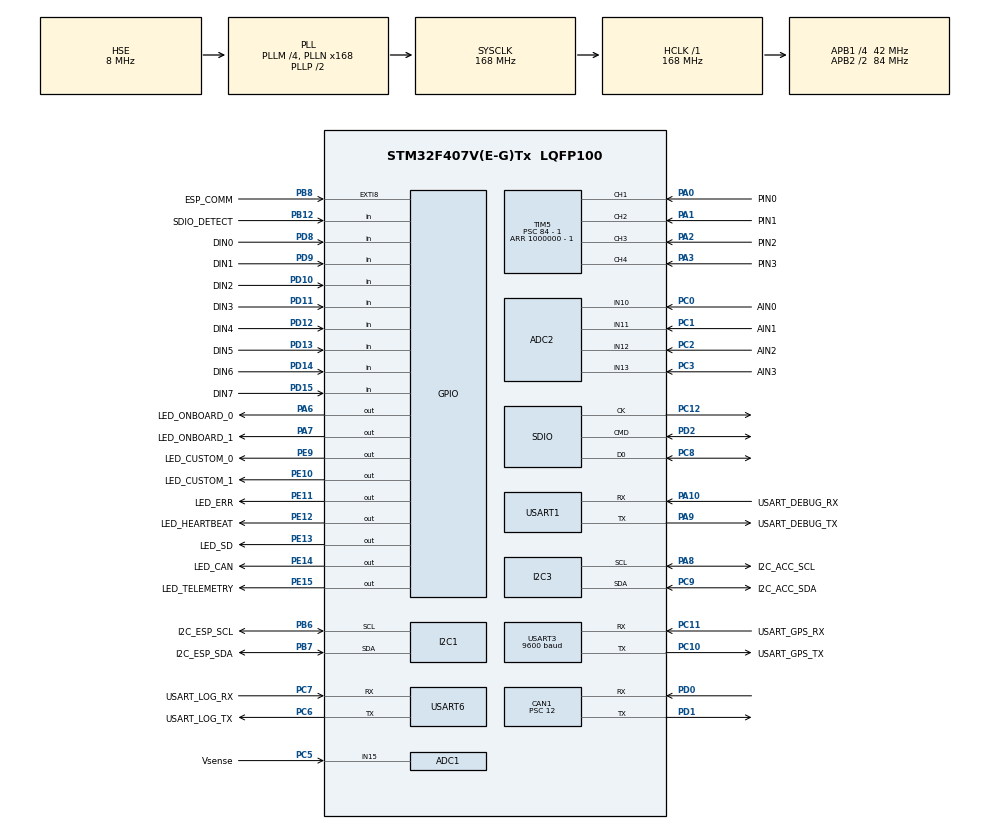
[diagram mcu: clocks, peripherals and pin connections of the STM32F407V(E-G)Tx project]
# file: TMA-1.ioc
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ADC1.Channel-0\#ChannelRegularConversion=ADC_CHANNEL_TEMPSENSOR
ADC1.Channel-1\#ChannelRegularConversion=ADC_CHANNEL_15
ADC1.ClockPrescaler=ADC_CLOCK_SYNC_PCLK_DIV4
ADC1.DMAContinuousRequests=ENABLE
ADC1.DiscontinuousConvMode=DISABLE
ADC1.EOCSelection=ADC_EOC_SEQ_CONV
ADC1.NbrOfConversion=2
ADC1.NbrOfConversionFlag=1
ADC1.Rank-0\#ChannelRegularConversion=1
ADC1.Rank-1\#ChannelRegularConversion=2
ADC1.SamplingTime-0\#ChannelRegularConversion=ADC_SAMPLETIME_15CYCLES
ADC1.SamplingTime-1\#ChannelRegularConversion=ADC_SAMPLETIME_15CYCLES
ADC1.ScanConvMode=ENABLE
ADC1.master=1
ADC2.Channel-4\#ChannelRegularConversion=ADC_CHANNEL_10
ADC2.Channel-5\#ChannelRegularConversion=ADC_CHANNEL_11
ADC2.Channel-6\#ChannelRegularConversion=ADC_CHANNEL_12
ADC2.Channel-7\#ChannelRegularConversion=ADC_CHANNEL_13
ADC2.ClockPrescaler=ADC_CLOCK_SYNC_PCLK_DIV4
ADC2.DMAContinuousRequests=ENABLE
ADC2.DiscontinuousConvMode=DISABLE
ADC2.EOCSelection=ADC_EOC_SEQ_CONV
ADC2.NbrOfConversion=4
ADC2.NbrOfConversionFlag=1
ADC2.Rank-4\#ChannelRegularConversion=1
ADC2.Rank-5\#ChannelRegularConversion=2
ADC2.Rank-6\#ChannelRegularConversion=3
ADC2.Rank-7\#ChannelRegularConversion=4
ADC2.SamplingTime-4\#ChannelRegularConversion=ADC_SAMPLETIME_15CYCLES
ADC2.SamplingTime-5\#ChannelRegularConversion=ADC_SAMPLETIME_15CYCLES
ADC2.SamplingTime-6\#ChannelRegularConversion=ADC_SAMPLETIME_15CYCLES
ADC2.SamplingTime-7\#ChannelRegularConversion=ADC_SAMPLETIME_15CYCLES
CAN1.AWUM=ENABLE
CAN1.BS1=CAN_BS1_11TQ
CAN1.BS2=CAN_BS2_2TQ
CAN1.CalculateBaudRate=250000
CAN1.CalculateTimeBit=4000
CAN1.CalculateTimeQuantum=285.7142857142857
CAN1.Prescaler=12
Dma.ADC1.8.Direction=DMA_PERIPH_TO_MEMORY
Dma.ADC1.8.FIFOMode=DMA_FIFOMODE_DISABLE
Dma.ADC1.8.Instance=DMA2_Stream0
Dma.ADC1.8.MemDataAlignment=DMA_MDATAALIGN_WORD
Dma.ADC1.8.MemInc=DMA_MINC_ENABLE
Dma.ADC1.8.Mode=DMA_CIRCULAR
Dma.ADC1.8.PeriphDataAlignment=DMA_PDATAALIGN_WORD
Dma.ADC1.8.PeriphInc=DMA_PINC_DISABLE
Dma.ADC1.8.Priority=DMA_PRIORITY_LOW
Dma.ADC2.7.Direction=DMA_PERIPH_TO_MEMORY
Dma.ADC2.7.FIFOMode=DMA_FIFOMODE_DISABLE
Dma.ADC2.7.Instance=DMA2_Stream2
Dma.ADC2.7.MemDataAlignment=DMA_MDATAALIGN_WORD
Dma.ADC2.7.MemInc=DMA_MINC_ENABLE
Dma.ADC2.7.Mode=DMA_CIRCULAR
Dma.ADC2.7.PeriphDataAlignment=DMA_PDATAALIGN_WORD
Dma.ADC2.7.PeriphInc=DMA_PINC_DISABLE
Dma.ADC2.7.Priority=DMA_PRIORITY_LOW
Dma.Request0=TIM5_CH1
Dma.Request1=TIM5_CH2
Dma.Request2=TIM5_CH3/UP
Dma.Request3=TIM5_CH4/TRIG
Dma.Request4=SDIO_RX
Dma.Request5=SDIO_TX
Dma.Request6=USART3_RX
Dma.Request7=ADC2
Dma.Request8=ADC1
Dma.SDIO_RX.4.Direction=DMA_PERIPH_TO_MEMORY
Dma.SDIO_RX.4.FIFOMode=DMA_FIFOMODE_ENABLE
Dma.SDIO_RX.4.FIFOThreshold=DMA_FIFO_THRESHOLD_FULL
Dma.SDIO_RX.4.Instance=DMA2_Stream6
Dma.SDIO_RX.4.MemBurst=DMA_MBURST_INC4
Dma.SDIO_RX.4.MemDataAlignment=DMA_MDATAALIGN_WORD
Dma.SDIO_RX.4.MemInc=DMA_MINC_ENABLE
Dma.SDIO_RX.4.Mode=DMA_PFCTRL
Dma.SDIO_RX.4.PeriphBurst=DMA_PBURST_INC4
Dma.SDIO_RX.4.PeriphDataAlignment=DMA_PDATAALIGN_WORD
Dma.SDIO_RX.4.PeriphInc=DMA_PINC_DISABLE
Dma.SDIO_RX.4.Priority=DMA_PRIORITY_LOW
Dma.SDIO_TX.5.Direction=DMA_MEMORY_TO_PERIPH
Dma.SDIO_TX.5.FIFOMode=DMA_FIFOMODE_ENABLE
Dma.SDIO_TX.5.FIFOThreshold=DMA_FIFO_THRESHOLD_FULL
Dma.SDIO_TX.5.Instance=DMA2_Stream3
Dma.SDIO_TX.5.MemBurst=DMA_MBURST_INC4
Dma.SDIO_TX.5.MemDataAlignment=DMA_MDATAALIGN_WORD
Dma.SDIO_TX.5.MemInc=DMA_MINC_ENABLE
Dma.SDIO_TX.5.Mode=DMA_PFCTRL
Dma.SDIO_TX.5.PeriphBurst=DMA_PBURST_INC4
Dma.SDIO_TX.5.PeriphDataAlignment=DMA_PDATAALIGN_WORD
Dma.SDIO_TX.5.PeriphInc=DMA_PINC_DISABLE
Dma.SDIO_TX.5.Priority=DMA_PRIORITY_LOW
Dma.TIM5_CH1.0.Direction=DMA_PERIPH_TO_MEMORY
Dma.TIM5_CH1.0.FIFOMode=DMA_FIFOMODE_DISABLE
Dma.TIM5_CH1.0.Instance=DMA1_Stream2
Dma.TIM5_CH1.0.MemDataAlignment=DMA_MDATAALIGN_WORD
Dma.TIM5_CH1.0.MemInc=DMA_MINC_ENABLE
Dma.TIM5_CH1.0.Mode=DMA_NORMAL
Dma.TIM5_CH1.0.PeriphDataAlignment=DMA_PDATAALIGN_WORD
Dma.TIM5_CH1.0.PeriphInc=DMA_PINC_DISABLE
Dma.TIM5_CH1.0.Priority=DMA_PRIORITY_LOW
Dma.TIM5_CH2.1.Direction=DMA_PERIPH_TO_MEMORY
Dma.TIM5_CH2.1.FIFOMode=DMA_FIFOMODE_DISABLE
Dma.TIM5_CH2.1.Instance=DMA1_Stream4
Dma.TIM5_CH2.1.MemDataAlignment=DMA_MDATAALIGN_WORD
Dma.TIM5_CH2.1.MemInc=DMA_MINC_ENABLE
Dma.TIM5_CH2.1.Mode=DMA_NORMAL
Dma.TIM5_CH2.1.PeriphDataAlignment=DMA_PDATAALIGN_WORD
Dma.TIM5_CH2.1.PeriphInc=DMA_PINC_DISABLE
Dma.TIM5_CH2.1.Priority=DMA_PRIORITY_LOW
Dma.TIM5_CH3/UP.2.Direction=DMA_PERIPH_TO_MEMORY
Dma.TIM5_CH3/UP.2.FIFOMode=DMA_FIFOMODE_DISABLE
Dma.TIM5_CH3/UP.2.Instance=DMA1_Stream0
Dma.TIM5_CH3/UP.2.MemDataAlignment=DMA_MDATAALIGN_WORD
Dma.TIM5_CH3/UP.2.MemInc=DMA_MINC_ENABLE
Dma.TIM5_CH3/UP.2.Mode=DMA_NORMAL
Dma.TIM5_CH3/UP.2.PeriphDataAlignment=DMA_PDATAALIGN_WORD
Dma.TIM5_CH3/UP.2.PeriphInc=DMA_PINC_DISABLE
Dma.TIM5_CH3/UP.2.Priority=DMA_PRIORITY_LOW
Dma.TIM5_CH4/TRIG.3.Direction=DMA_PERIPH_TO_MEMORY
Dma.TIM5_CH4/TRIG.3.FIFOMode=DMA_FIFOMODE_DISABLE
Dma.TIM5_CH4/TRIG.3.Instance=DMA1_Stream3
Dma.TIM5_CH4/TRIG.3.MemDataAlignment=DMA_MDATAALIGN_WORD
Dma.TIM5_CH4/TRIG.3.MemInc=DMA_MINC_ENABLE
Dma.TIM5_CH4/TRIG.3.Mode=DMA_NORMAL
Dma.TIM5_CH4/TRIG.3.PeriphDataAlignment=DMA_PDATAALIGN_WORD
Dma.TIM5_CH4/TRIG.3.PeriphInc=DMA_PINC_DISABLE
Dma.TIM5_CH4/TRIG.3.Priority=DMA_PRIORITY_LOW
Dma.USART3_RX.6.Direction=DMA_PERIPH_TO_MEMORY
Dma.USART3_RX.6.FIFOMode=DMA_FIFOMODE_DISABLE
Dma.USART3_RX.6.Instance=DMA1_Stream1
Dma.USART3_RX.6.MemDataAlignment=DMA_MDATAALIGN_BYTE
Dma.USART3_RX.6.MemInc=DMA_MINC_ENABLE
Dma.USART3_RX.6.Mode=DMA_NORMAL
Dma.USART3_RX.6.PeriphDataAlignment=DMA_PDATAALIGN_BYTE
Dma.USART3_RX.6.PeriphInc=DMA_PINC_DISABLE
Dma.USART3_RX.6.Priority=DMA_PRIORITY_LOW
FATFS.BSP.number=1
FATFS.USE_DMA_CODE_SD=1
FATFS._MAX_SS=4096
FATFS._USE_LFN=1
FATFS0.BSP.STBoard=false
FATFS0.BSP.api=Unknown
FATFS0.BSP.instance=PB12
FATFS0.BSP.ip=GPIO
FATFS0.BSP.mode=Input
FATFS0.BSP.name=Detect_SDIO
FATFS0.BSP.solution=PB12
I2C1.I2C_Mode=I2C_Fast
I2C3.I2C_Mode=I2C_Fast
Mcu.Family=STM32F4
Mcu.Name=STM32F407V(E-G)Tx
Mcu.Package=LQFP100
NVIC.ADC_IRQn=true\:0\:0\:false\:false\:true\:true\:true\:true
NVIC.CAN1_RX0_IRQn=true\:0\:0\:false\:false\:true\:true\:true\:true
NVIC.CAN1_RX1_IRQn=true\:0\:0\:false\:false\:true\:true\:true\:true
NVIC.CAN1_SCE_IRQn=true\:0\:0\:false\:false\:true\:true\:true\:true
NVIC.CAN1_TX_IRQn=true\:0\:0\:false\:false\:true\:true\:true\:true
NVIC.DMA1_Stream0_IRQn=true\:0\:0\:false\:false\:true\:false\:true\:true
NVIC.DMA1_Stream1_IRQn=true\:0\:0\:false\:false\:true\:false\:true\:true
NVIC.DMA1_Stream2_IRQn=true\:0\:0\:false\:false\:true\:false\:true\:true
NVIC.DMA1_Stream3_IRQn=true\:0\:0\:false\:false\:true\:false\:true\:true
NVIC.DMA1_Stream4_IRQn=true\:0\:0\:false\:false\:true\:false\:true\:true
NVIC.DMA2_Stream0_IRQn=true\:0\:0\:false\:false\:true\:false\:true\:true
NVIC.DMA2_Stream2_IRQn=true\:0\:0\:false\:false\:true\:false\:true\:true
NVIC.DMA2_Stream3_IRQn=true\:0\:0\:false\:false\:true\:false\:true\:true
NVIC.DMA2_Stream6_IRQn=true\:0\:0\:false\:false\:true\:false\:true\:true
NVIC.EXTI9_5_IRQn=true\:0\:0\:false\:false\:true\:true\:true\:true
NVIC.I2C1_EV_IRQn=true\:0\:0\:false\:false\:true\:true\:true\:true
NVIC.I2C3_EV_IRQn=true\:0\:0\:false\:false\:true\:true\:true\:true
NVIC.PriorityGroup=NVIC_PRIORITYGROUP_4
NVIC.SDIO_IRQn=true\:0\:0\:false\:false\:true\:true\:true\:true
NVIC.TIM1_UP_TIM10_IRQn=true\:0\:0\:false\:false\:true\:true\:true\:true
NVIC.TIM5_IRQn=true\:0\:0\:false\:false\:true\:true\:true\:true
NVIC.USART1_IRQn=true\:0\:0\:false\:false\:true\:true\:true\:true
NVIC.USART3_IRQn=true\:0\:0\:false\:false\:true\:true\:true\:true
NVIC.USART6_IRQn=true\:0\:0\:false\:false\:true\:true\:true\:true
PA0-WKUP.GPIO_Label=PIN0
PA0-WKUP.Signal=S_TIM5_CH1
PA1.GPIO_Label=PIN1
PA1.Signal=S_TIM5_CH2
PA10.GPIO_Label=USART_DEBUG_RX
PA10.Mode=Asynchronous
PA10.Signal=USART1_RX
PA2.GPIO_Label=PIN2
PA2.Signal=S_TIM5_CH3
PA3.GPIO_Label=PIN3
PA3.Signal=S_TIM5_CH4
PA6.GPIO_Label=LED_ONBOARD_0
PA6.GPIO_PuPd=GPIO_PULLDOWN
PA6.Signal=GPIO_Output
PA7.GPIO_Label=LED_ONBOARD_1
PA7.GPIO_PuPd=GPIO_PULLDOWN
PA7.Signal=GPIO_Output
PA8.GPIO_Label=I2C_ACC_SCL
PA8.Mode=I2C
PA8.Signal=I2C3_SCL
PA9.GPIO_Label=USART_DEBUG_TX
PA9.Mode=Asynchronous
PA9.Signal=USART1_TX
PB12.GPIO_Label=SDIO_DETECT
PB12.GPIO_PuPd=GPIO_PULLDOWN
PB12.Signal=GPIO_Input
PB6.GPIO_Label=I2C_ESP_SCL
PB6.Mode=I2C
PB6.Signal=I2C1_SCL
PB7.GPIO_Label=I2C_ESP_SDA
PB7.Mode=I2C
PB7.Signal=I2C1_SDA
PB8.GPIO_Label=ESP_COMM
PB8.GPIO_ModeDefaultEXTI=GPIO_MODE_IT_RISING_FALLING
PB8.Signal=GPXTI8
PC0.GPIO_Label=AIN0
PC0.Signal=ADCx_IN10
PC1.GPIO_Label=AIN1
PC1.Signal=ADCx_IN11
PC10.GPIO_Label=USART_GPS_TX
PC10.Mode=Asynchronous
PC10.Signal=USART3_TX
PC11.GPIO_Label=USART_GPS_RX
PC11.Mode=Asynchronous
PC11.Signal=USART3_RX
PC12.Mode=SD_1_bit
PC12.Signal=SDIO_CK
PC14-OSC32_IN.Mode=LSE-External-Oscillator
PC14-OSC32_IN.Signal=RCC_OSC32_IN
PC15-OSC32_OUT.Mode=LSE-External-Oscillator
PC15-OSC32_OUT.Signal=RCC_OSC32_OUT
PC2.GPIO_Label=AIN2
PC2.Signal=ADCx_IN12
PC3.GPIO_Label=AIN3
PC3.Signal=ADCx_IN13
PC5.GPIO_Label=Vsense
PC5.Signal=ADCx_IN15
PC6.GPIO_Label=USART_LOG_TX
PC6.Mode=Asynchronous
PC6.Signal=USART6_TX
PC7.GPIO_Label=USART_LOG_RX
PC7.Mode=Asynchronous
PC7.Signal=USART6_RX
PC8.GPIO_PuPd=GPIO_PULLUP
PC8.Mode=SD_1_bit
PC8.Signal=SDIO_D0
PC9.GPIO_Label=I2C_ACC_SDA
PC9.Mode=I2C
PC9.Signal=I2C3_SDA
PD0.Mode=CAN_Activate
PD0.Signal=CAN1_RX
PD1.Mode=CAN_Activate
PD1.Signal=CAN1_TX
PD10.GPIO_Label=DIN2
PD10.GPIO_PuPd=GPIO_PULLDOWN
PD10.Signal=GPIO_Input
PD11.GPIO_Label=DIN3
PD11.GPIO_PuPd=GPIO_PULLDOWN
PD11.Signal=GPIO_Input
PD12.GPIO_Label=DIN4
PD12.GPIO_PuPd=GPIO_PULLDOWN
PD12.Signal=GPIO_Input
PD13.GPIO_Label=DIN5
PD13.GPIO_PuPd=GPIO_PULLDOWN
PD13.Signal=GPIO_Input
PD14.GPIO_Label=DIN6
PD14.GPIO_PuPd=GPIO_PULLDOWN
PD14.Signal=GPIO_Input
PD15.GPIO_Label=DIN7
PD15.GPIO_PuPd=GPIO_PULLDOWN
PD15.Signal=GPIO_Input
PD2.GPIO_PuPd=GPIO_PULLUP
PD2.Mode=SD_1_bit
PD2.Signal=SDIO_CMD
PD8.GPIO_Label=DIN0
PD8.GPIO_PuPd=GPIO_PULLDOWN
PD8.Signal=GPIO_Input
PD9.GPIO_Label=DIN1
PD9.GPIO_PuPd=GPIO_PULLDOWN
PD9.Signal=GPIO_Input
PE10.GPIO_Label=LED_CUSTOM_1
PE10.Signal=GPIO_Output
PE11.GPIO_Label=LED_ERR
PE11.Signal=GPIO_Output
PE12.GPIO_Label=LED_HEARTBEAT
PE12.Signal=GPIO_Output
PE13.GPIO_Label=LED_SD
PE13.Signal=GPIO_Output
PE14.GPIO_Label=LED_CAN
PE14.Signal=GPIO_Output
PE15.GPIO_Label=LED_TELEMETRY
PE15.Signal=GPIO_Output
PE9.GPIO_Label=LED_CUSTOM_0
PE9.Signal=GPIO_Output
PH0-OSC_IN.Mode=HSE-External-Oscillator
PH0-OSC_IN.Signal=RCC_OSC_IN
PH1-OSC_OUT.Mode=HSE-External-Oscillator
PH1-OSC_OUT.Signal=RCC_OSC_OUT
ProjectManager.HeapSize=0x200
ProjectManager.StackSize=0x400
ProjectManager.TargetToolchain=STM32CubeIDE
RCC.48MHZClocksFreq_Value=48000000
RCC.AHBFreq_Value=168000000
RCC.APB1CLKDivider=RCC_HCLK_DIV4
RCC.APB1Freq_Value=42000000
RCC.APB1TimFreq_Value=84000000
RCC.APB2CLKDivider=RCC_HCLK_DIV2
RCC.APB2Freq_Value=84000000
RCC.APB2TimFreq_Value=168000000
RCC.CortexFreq_Value=168000000
RCC.EnbaleCSS=true
RCC.HCLKFreq_Value=168000000
RCC.HSE_VALUE=8000000
RCC.HSI_VALUE=16000000
RCC.PLLM=4
RCC.PLLN=168
RCC.PLLQ=7
RCC.PLLSourceVirtual=RCC_PLLSOURCE_HSE
RCC.RCC_RTC_Clock_Source=RCC_RTCCLKSOURCE_LSE
RCC.RCC_RTC_Clock_SourceVirtual=RCC_RTCCLKSOURCE_LSE
RCC.SYSCLKFreq_VALUE=168000000
RCC.SYSCLKSource=RCC_SYSCLKSOURCE_PLLCLK
RCC.VCOOutputFreq_Value=336000000
RTC.Date=12
RTC.Month=RTC_MONTH_MAY
RTC.WeekDay=RTC_WEEKDAY_FRIDAY
RTC.Year=23
SDIO.ClockDiv=12
SDIO.HardwareFlowControl=SDIO_HARDWARE_FLOW_CONTROL_ENABLE
SH.ADCx_IN10.0=ADC2_IN10,IN10
SH.ADCx_IN11.0=ADC2_IN11,IN11
SH.ADCx_IN12.0=ADC2_IN12,IN12
SH.ADCx_IN13.0=ADC2_IN13,IN13
SH.ADCx_IN15.0=ADC1_IN15,IN15
SH.S_TIM5_CH1.0=TIM5_CH1,Input_Capture1_from_TI1
SH.S_TIM5_CH2.0=TIM5_CH2,Input_Capture2_from_TI2
SH.S_TIM5_CH3.0=TIM5_CH3,Input_Capture3_from_TI3
SH.S_TIM5_CH4.0=TIM5_CH4,Input_Capture4_from_TI4
TIM1.Period=20000 - 1
TIM1.Prescaler=840 - 1
TIM5.Channel-Input_Capture1_from_TI1=TIM_CHANNEL_1
TIM5.Channel-Input_Capture2_from_TI2=TIM_CHANNEL_2
TIM5.Channel-Input_Capture3_from_TI3=TIM_CHANNEL_3
TIM5.Channel-Input_Capture4_from_TI4=TIM_CHANNEL_4
TIM5.Period=1000000 - 1
TIM5.Prescaler=84 - 1
USART1.VirtualMode=VM_ASYNC
USART3.BaudRate=9600
USART3.VirtualMode=VM_ASYNC
USART6.VirtualMode=VM_ASYNC
VP_ADC1_TempSens_Input.Mode=IN-TempSens
VP_FATFS_VS_SDIO.Mode=SDIO
VP_RTC_VS_RTC_Activate.Mode=RTC_Enabled
VP_RTC_VS_RTC_Calendar.Mode=RTC_Calendar
VP_TIM1_VS_ClockSourceINT.Mode=Internal
VP_TIM5_VS_ClockSourceINT.Mode=Internal
board=custom

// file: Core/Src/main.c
/* USER CODE BEGIN Header */
/**
  ******************************************************************************
  * @file           : main.c
  * @brief          : Main program body
  ******************************************************************************
  * @attention
  *
  * Monolith TMA-1 datalogger STM32 firmware.
  *
  * Oh Byung-Jun (mail@luftaquila.io)
  * Ajou University, Korea.
  *
  ******************************************************************************
  */
/* USER CODE END Header */
#include "main.h"
#include "adc.h"
#include "can.h"
#include "dma.h"
#include "fatfs.h"
#include "i2c.h"
#include "rtc.h"
#include "sdio.h"
#include "tim.h"
#include "usart.h"
#include "gpio.h"

/* USER CODE BEGIN Includes */
#include "logger.h"
#include "types.h"
#include "ringbuffer.h"
/* USER CODE END Includes */

/* USER CODE BEGIN PD */
extern int SYS_LOG(LOG_LEVEL level, LOG_SOURCE source, int key);

/* USER CODE END PD */

/* USER CODE BEGIN PM */
extern uint32_t to_uint(uint8_t *str, char garbage);
extern uint32_t drop_point(uint8_t *str);
/* USER CODE END PM */

/* USER CODE BEGIN PV */

// system log
FIL logfile;
LOG syslog;

// system state
SYSTEM_STATE sys_state;

// timer alarm flag
uint32_t timer_flag = 0;

// rtc buffer
uint8_t rtc[25]; // YYYY-MM-DD-HH-MM-SS

// SD card write buffer
ring_buffer_t SD_BUFFER;
uint8_t SD_BUFFER_ARR[1 << 12]; // 4KB

// serial log output buffer
uint32_t serial_flag = 0;
ring_buffer_t SERIAL_BUFFER;
uint8_t SERIAL_BUFFER_ARR[1 << 14]; // 16KB

// telemetry transmission flag and buffer
uint32_t telemetry_flag = 0;
uint32_t handshake_flag = 0;
ring_buffer_t TELEMETRY_BUFFER;
uint8_t TELEMETRY_BUFFER_ARR[1 << 14]; // 16KB

// CAN RX header and buffer
CAN_RxHeaderTypeDef can_rx_header;
uint8_t can_rx_data[8];

// adc conversion buffers
uint32_t adc_flag = 0;
uint32_t adc_sys_value[2] = { 0, };
uint32_t adc_ain_value[ADC_COUNT] = { 0, };

// timer pulse input capture flag and data
uint32_t pulse_flag = 0;
uint32_t pulse_value[PULSE_CH_COUNT] = { 0, }; // microsecond
uint32_t pulse_buffer_0[PULSE_CH_COUNT] = { 0, };
uint32_t pulse_buffer_1[PULSE_CH_COUNT] = { 0, };

// accelerometer receive buffer
uint32_t accelerometer_flag = false;
uint8_t accelerometer_value[6];

// GPS receive flag and buffer
uint32_t gps_flag = false;
uint8_t gps_data[1 << 7]; // 128B
/* USER CODE END PV */

void SystemClock_Config(void);
/* USER CODE BEGIN PFP */
__attribute__((weak)) void _close(void){}
__attribute__((weak)) void _lseek(void){}
__attribute__((weak)) void _read(void){}

void GPS_PARSE(void);
/* USER CODE END PFP */

/* USER CODE BEGIN 0 */
int _write(int file, uint8_t *ptr, int len) {
  HAL_UART_Transmit(UART_DEBUG, (uint8_t *)ptr, (uint16_t)len, 30);
  return (len);
}
/* USER CODE END 0 */

int main(void)
{

  /* MCU Configuration--------------------------------------------------------*/

  /* Reset of all peripherals, Initializes the Flash interface and the Systick. */
  HAL_Init();

  /* Configure the system clock */
  SystemClock_Config();

  /* Initialize all configured peripherals */
  MX_GPIO_Init();
  MX_DMA_Init();
  MX_ADC1_Init();
  MX_ADC2_Init();
  MX_RTC_Init();
  MX_TIM1_Init();
  MX_TIM5_Init();
  MX_CAN1_Init();
  MX_I2C1_Init();
  MX_I2C3_Init();
  MX_SDIO_SD_Init();
  MX_USART1_UART_Init();
  MX_USART3_UART_Init();
  MX_FATFS_Init();
  MX_USART6_UART_Init();
  /* USER CODE BEGIN 2 */

  /********** CORE SYSTEM STARTUP **********/
  int ret;
  DEBUG_MSG("[%8lu] [INF] core system is in startup\r\n", HAL_GetTick());

  /********** RTC boot time check **********/
  DATETIME boot;
  RTC_READ(&boot);
  DEBUG_MSG("[%8lu] [INF] RTC time is 20%02d-%02d-%02d %02d:%02d:%02d\r\n", HAL_GetTick(), boot.year, boot.month, boot.date, boot.hour, boot.minute, boot.second);

  /********** SD card initialization **********/
  ret = SD_SETUP(&boot);

  if (ret == SYS_OK) {
    sys_state.SD = true;
    HAL_GPIO_WritePin(GPIOE, LED_SD_Pin, GPIO_PIN_SET);

    SYS_LOG(LOG_INFO, SYS, SYS_SD_INIT);

    DEBUG_MSG("[%8lu] [ OK] SD card setup\r\n", HAL_GetTick());
  } else {
    sys_state.SD = false;
    HAL_GPIO_WritePin(GPIOE, LED_SD_Pin, GPIO_PIN_RESET);

    syslog.value[0] = (uint8_t)ret;
    SYS_LOG(LOG_ERROR, SYS, SYS_SD_INIT);

    DEBUG_MSG("[%8lu] [ERR] SD card setup failed: %d\r\n", HAL_GetTick(), ret);
  }

  /********** core system initialization **********/
  HAL_GPIO_WritePin(GPIOA, LED_ONBOARD_0_Pin, GPIO_PIN_RESET);
  HAL_GPIO_WritePin(GPIOA, LED_ONBOARD_1_Pin, GPIO_PIN_RESET);
  HAL_GPIO_WritePin(GPIOE, LED_CUSTOM_0_Pin, GPIO_PIN_RESET);
  HAL_GPIO_WritePin(GPIOE, LED_CUSTOM_1_Pin, GPIO_PIN_RESET);

  sys_state.ERR = false;
  sys_state.CAN = false;
  sys_state.TELEMETRY = false;

  HAL_GPIO_WritePin(GPIOE, LED_ERR_Pin, GPIO_PIN_RESET);
  HAL_GPIO_WritePin(GPIOE, LED_HEARTBEAT_Pin, GPIO_PIN_SET);
  HAL_GPIO_WritePin(GPIOE, LED_CAN_Pin, GPIO_PIN_RESET);
  HAL_GPIO_WritePin(GPIOE, LED_TELEMETRY_Pin, GPIO_PIN_RESET);

  // RTC time sync by UART
  HAL_UART_Receive_IT(UART_DEBUG, rtc, 20);

  SYS_LOG(LOG_INFO, SYS, SYS_CORE_INIT);

  DEBUG_MSG("[%8lu] [ OK] core system setup\r\n", HAL_GetTick());

  /********** UART log output port initialization **********/
  ret = SERIAL_SETUP();

  if (ret == SYS_OK) {
    SYS_LOG(LOG_INFO, SYS, SYS_SERIAL_INIT);

    DEBUG_MSG("[%8lu] [ OK] serial log output port setup\r\n", HAL_GetTick());
  } else {
    syslog.value[0] = (uint8_t)ret;
    SYS_LOG(LOG_ERROR, SYS, SYS_SERIAL_INIT);

    DEBUG_MSG("[%8lu] [ERR] serial log output port setup failed: %d\r\n", HAL_GetTick(), ret);
  }

  /********** ESP32 telemetry initialization **********/
  ret = TELEMETRY_SETUP();

  if (ret == SYS_OK) {
    sys_state.TELEMETRY = true;

    // flash 3 times
    HAL_GPIO_WritePin(GPIOE, LED_TELEMETRY_Pin, GPIO_PIN_SET);
    HAL_Delay(100);
    HAL_GPIO_WritePin(GPIOE, LED_TELEMETRY_Pin, GPIO_PIN_RESET);
    HAL_Delay(100);
    HAL_GPIO_WritePin(GPIOE, LED_TELEMETRY_Pin, GPIO_PIN_SET);
    HAL_Delay(100);
    HAL_GPIO_WritePin(GPIOE, LED_TELEMETRY_Pin, GPIO_PIN_RESET);
    HAL_Delay(100);
    HAL_GPIO_WritePin(GPIOE, LED_TELEMETRY_Pin, GPIO_PIN_SET);
    HAL_Delay(100);
    HAL_GPIO_WritePin(GPIOE, LED_TELEMETRY_Pin, GPIO_PIN_RESET);

    SYS_LOG(LOG_INFO, SYS, SYS_TELEMETRY_INIT);

    DEBUG_MSG("[%8lu] [ OK] TELEMETRY setup\r\n", HAL_GetTick());
  } else {
    sys_state.TELEMETRY = false;
    HAL_GPIO_WritePin(GPIOE, LED_TELEMETRY_Pin, GPIO_PIN_RESET);

    syslog.value[0] = (uint8_t)ret;
    SYS_LOG(LOG_ERROR, SYS, SYS_TELEMETRY_INIT);

    DEBUG_MSG("[%8lu] [ERR] TELEMETRY setup failed: %d\r\n", HAL_GetTick(), ret);
  }

  /********** CAN transceiver initialization **********/
  ret = CAN_SETUP();

  if (ret == SYS_OK) {
    sys_state.CAN = true;
    HAL_GPIO_WritePin(GPIOE, LED_CAN_Pin, GPIO_PIN_SET);

    SYS_LOG(LOG_INFO, SYS, CAN_INIT);

    DEBUG_MSG("[%8lu] [ OK] CAN transceiver setup\r\n", HAL_GetTick());
  } else {
    sys_state.CAN = false;
    HAL_GPIO_WritePin(GPIOE, LED_CAN_Pin, GPIO_PIN_RESET);

    syslog.value[0] = (uint8_t)ret;
    SYS_LOG(LOG_ERROR, SYS, CAN_INIT);

    DEBUG_MSG("[%8lu] [ERR] CAN transceiver setup failed: %d\r\n", HAL_GetTick(), ret);
  }

  /********** digital input initialization **********/
  ret = DIGITAL_SETUP();

  if (ret == SYS_OK) {
    SYS_LOG(LOG_INFO, SYS, DIGITAL_INIT);

    DEBUG_MSG("[%8lu] [ OK] digital input setup\r\n", HAL_GetTick());
  } else {
    syslog.value[0] = (uint8_t)ret;
    SYS_LOG(LOG_ERROR, SYS, DIGITAL_INIT);

    DEBUG_MSG("[%8lu] [ERR] digital input setup failed: %d\r\n", HAL_GetTick(), ret);
  }

  /********** analog input initialization **********/
  ret = ANALOG_SETUP();

  if (ret == SYS_OK) {
    SYS_LOG(LOG_INFO, SYS, ANALOG_INIT);

    DEBUG_MSG("[%8lu] [ OK] analog input setup\r\n", HAL_GetTick());
  } else {
    syslog.value[0] = (uint8_t)ret;
    SYS_LOG(LOG_ERROR, SYS, ANALOG_INIT);

    DEBUG_MSG("[%8lu] [ERR] analog input setup failed: %d\r\n", HAL_GetTick(), ret);
  }

  /********** pulse input initialization **********/
  ret = PULSE_SETUP();

  if (ret == SYS_OK) {
    SYS_LOG(LOG_INFO, SYS, PULSE_INIT);

    DEBUG_MSG("[%8lu] [ OK] pulse input setup\r\n", HAL_GetTick());
  } else {
    syslog.value[0] = (uint8_t)ret;
    SYS_LOG(LOG_ERROR, SYS, PULSE_INIT);

    DEBUG_MSG("[%8lu] [ERR] pulse input setup failed: %d\r\n", HAL_GetTick(), ret);
  }

  /********** ADXL345 accelerometer initialization **********/
  ret = ACCELEROMETER_SETUP();

  if (ret == SYS_OK) {
    SYS_LOG(LOG_INFO, SYS, ACCELEROMETER_INIT);

    DEBUG_MSG("[%8lu] [ OK] accelerometer setup\r\n", HAL_GetTick());
  } else {
    syslog.value[0] = (uint8_t)ret;
    SYS_LOG(LOG_ERROR, SYS, ACCELEROMETER_INIT);

    DEBUG_MSG("[%8lu] [ERR] accelerometer setup failed: %d\r\n", HAL_GetTick(), ret);
  }

  /********** NEO-7M GPS initialization **********/
  ret = GPS_SETUP();

  if (ret == SYS_OK) {
    SYS_LOG(LOG_INFO, SYS, GPS_INIT);

    DEBUG_MSG("[%8lu] [ OK] GPS setup\r\n", HAL_GetTick());
  } else {
    syslog.value[0] = (uint8_t)ret;
    SYS_LOG(LOG_ERROR, SYS, GPS_INIT);

    DEBUG_MSG("[%8lu] [ERR] GPS setup failed: %d\r\n", HAL_GetTick(), ret);
  }

  /********** CORE SYSTEM STARTUP COMPLETE **********/
  SYS_LOG(LOG_INFO, SYS, SYS_READY);
  DEBUG_MSG("[%8lu] [ OK] CORE SYSTEM STARTUP COMPLETE\r\n", HAL_GetTick());

  HAL_TIM_Base_Start_IT(&htim1); // start 100ms periodic timer

  /* USER CODE END 2 */

  /* Infinite loop */
  /* USER CODE BEGIN WHILE */
  while (1) {
    /* check flags */
    // system monitor: core temperature and input voltage
    if (adc_flag & (1 << FLAG_ADC_SYS)) {
      adc_flag &= ~(1 << FLAG_ADC_SYS);

      *(uint16_t *)(syslog.value + 0) = (uint16_t)adc_sys_value[0];
      *(uint16_t *)(syslog.value + 2) = (uint16_t)adc_sys_value[1];
      SYS_LOG(LOG_INFO, ANALOG, ANALOG_SYS);
    }

    if (adc_flag & (1 << FLAG_ADC_AIN)) {
      adc_flag &= ~(1 << FLAG_ADC_AIN);

      *(uint16_t *)(syslog.value + 0) = (uint16_t)adc_ain_value[0];
      *(uint16_t *)(syslog.value + 2) = (uint16_t)adc_ain_value[1];
      *(uint16_t *)(syslog.value + 4) = (uint16_t)adc_ain_value[2];
      *(uint16_t *)(syslog.value + 6) = (uint16_t)adc_ain_value[3];
      SYS_LOG(LOG_INFO, ANALOG, ANALOG_DATA);
    }

    if (pulse_flag & (1 << PULSE_SET)) {
      // x10 us
      *(uint16_t *)(syslog.value + 0) = (uint16_t)(pulse_value[PULSE_CH0] / 10);
      *(uint16_t *)(syslog.value + 2) = (uint16_t)(pulse_value[PULSE_CH1] / 10);
      *(uint16_t *)(syslog.value + 4) = (uint16_t)(pulse_value[PULSE_CH2] / 10);
      *(uint16_t *)(syslog.value + 6) = (uint16_t)(pulse_value[PULSE_CH3] / 10);
      SYS_LOG(LOG_INFO, PULSE, PULSE_DATA);

      pulse_flag = 0;
    }

    if (accelerometer_flag == true) {
      accelerometer_flag = false;

      *(uint64_t *)syslog.value = *(uint64_t *)accelerometer_value;
      SYS_LOG(LOG_INFO, ACCELEROMETER, ACCELEROMETER_DATA);
    }

    if (gps_flag == true) {
      gps_flag = false;
      GPS_PARSE();
    }

    /* handle recorded LOGs */
    SD_WRITE();

    SERIAL_TRANSMIT_LOG();

    TELEMETRY_TRANSMIT_LOG();

    /* check timer flags */
    if (timer_flag & (1 << FLAG_TIMER_100ms)) {
      timer_flag &= ~(1 << FLAG_TIMER_100ms);
      TIMER_100ms();
    }

    if (timer_flag & (1 << FLAG_TIMER_1s)) {
      timer_flag &= ~(1 << FLAG_TIMER_1s);
      TIMER_1s();
    }
    /* USER CODE END WHILE */

  }
}

void SystemClock_Config(void)
{
  RCC_OscInitTypeDef RCC_OscInitStruct = {0};
  RCC_ClkInitTypeDef RCC_ClkInitStruct = {0};

  /** Configure the main internal regulator output voltage
  */
  __HAL_RCC_PWR_CLK_ENABLE();
  __HAL_PWR_VOLTAGESCALING_CONFIG(PWR_REGULATOR_VOLTAGE_SCALE1);

  /** Initializes the RCC Oscillators according to the specified parameters
  * in the RCC_OscInitTypeDef structure.
  */
  RCC_OscInitStruct.OscillatorType = RCC_OSCILLATORTYPE_LSI|RCC_OSCILLATORTYPE_HSE
                              |RCC_OSCILLATORTYPE_LSE;
  RCC_OscInitStruct.HSEState = RCC_HSE_ON;
  RCC_OscInitStruct.LSEState = RCC_LSE_ON;
  RCC_OscInitStruct.LSIState = RCC_LSI_ON;
  RCC_OscInitStruct.PLL.PLLState = RCC_PLL_ON;
  RCC_OscInitStruct.PLL.PLLSource = RCC_PLLSOURCE_HSE;
  RCC_OscInitStruct.PLL.PLLM = 4;
  RCC_OscInitStruct.PLL.PLLN = 168;
  RCC_OscInitStruct.PLL.PLLP = RCC_PLLP_DIV2;
  RCC_OscInitStruct.PLL.PLLQ = 7;
  if (HAL_RCC_OscConfig(&RCC_OscInitStruct) != HAL_OK)
  {
    Error_Handler();
  }

  /** Initializes the CPU, AHB and APB buses clocks
  */
  RCC_ClkInitStruct.ClockType = RCC_CLOCKTYPE_HCLK|RCC_CLOCKTYPE_SYSCLK
                              |RCC_CLOCKTYPE_PCLK1|RCC_CLOCKTYPE_PCLK2;
  RCC_ClkInitStruct.SYSCLKSource = RCC_SYSCLKSOURCE_PLLCLK;
  RCC_ClkInitStruct.AHBCLKDivider = RCC_SYSCLK_DIV1;
  RCC_ClkInitStruct.APB1CLKDivider = RCC_HCLK_DIV4;
  RCC_ClkInitStruct.APB2CLKDivider = RCC_HCLK_DIV2;

  if (HAL_RCC_ClockConfig(&RCC_ClkInitStruct, FLASH_LATENCY_5) != HAL_OK)
  {
    Error_Handler();
  }

  /** Enables the Clock Security System
  */
  HAL_RCC_EnableCSS();
}

/* USER CODE BEGIN 4 */
void TIMER_100ms(void) {
  /* record digital input channels */
  syslog.value[0] = !HAL_GPIO_ReadPin(GPIOD, DIN0_Pin);
  syslog.value[1] = !HAL_GPIO_ReadPin(GPIOD, DIN1_Pin);
  syslog.value[2] = !HAL_GPIO_ReadPin(GPIOD, DIN2_Pin);
  syslog.value[3] = !HAL_GPIO_ReadPin(GPIOD, DIN3_Pin);
  syslog.value[4] = !HAL_GPIO_ReadPin(GPIOD, DIN4_Pin);
  syslog.value[5] = !HAL_GPIO_ReadPin(GPIOD, DIN5_Pin);
  syslog.value[6] = !HAL_GPIO_ReadPin(GPIOD, DIN6_Pin);
  syslog.value[7] = !HAL_GPIO_ReadPin(GPIOD, DIN7_Pin);
  SYS_LOG(LOG_INFO, DIGITAL, DIGITAL_DATA);

  /* start analog input channels ADC conversion */
  if (!(adc_flag & (1 << FLAG_ADC_AIN))) {
    HAL_ADC_Start_DMA(&hadc2, adc_ain_value, 4);
  }

  PULSE_CAPTURE();

  /* this takes 30ms EVERY TIME if the module is NOT CONNECTED */
  if (accelerometer_flag == false) {
    HAL_I2C_Mem_Read_IT(I2C_ACCELEROMETER, ACC_I2C_ADDR, 0x32, 1, accelerometer_value, 6);
  }
}

void TIMER_1s(void) {
  /* internal temperature and input voltage monitor */
  if (!(adc_flag & (1 << FLAG_ADC_SYS))) {
    HAL_ADC_Start_DMA(&hadc1, adc_sys_value, 2);
  }

  /* SD card sync*/
  SD_SYNC();

  /* heartbeat LED */
  static bool heartbeat = true;
  if (heartbeat) {
    HAL_GPIO_WritePin(GPIOE, LED_HEARTBEAT_Pin, GPIO_PIN_SET);
  } else {
    HAL_GPIO_WritePin(GPIOE, LED_HEARTBEAT_Pin, GPIO_PIN_RESET);
  }
  heartbeat = !heartbeat;
}

void GPS_PARSE(void) {
  static NMEA_GPRMC gprmc;
  static GPS_COORD gps_coord;
  static GPS_VECTOR gps_vector;
  static GPS_DATETIME gps_datetime;

  if (!strncmp((char *)gps_data, "$GPRMC", 6)) {

    // parse NMEA GPRMC sentence
    gprmc.id = gps_data;
    gprmc.utc_time = FIND_AND_NUL(gprmc.id, gprmc.utc_time, ',');
    gprmc.status = FIND_AND_NUL(gprmc.utc_time, gprmc.status, ',');

    // proceed only if GPS fix is valid
    if (*gprmc.status == 'A') {
      gprmc.lat = FIND_AND_NUL(gprmc.status, gprmc.lat, ',');
      gprmc.north = FIND_AND_NUL(gprmc.lat, gprmc.north, ',');
      gprmc.lon = FIND_AND_NUL(gprmc.north, gprmc.lon, ',');
      gprmc.east = FIND_AND_NUL(gprmc.lon, gprmc.east, ',');
      gprmc.speed = FIND_AND_NUL(gprmc.east, gprmc.speed, ',');
      gprmc.course = FIND_AND_NUL(gprmc.speed, gprmc.course, ',');
      gprmc.utc_date = FIND_AND_NUL(gprmc.course, gprmc.utc_date, ',');
      gprmc.others = FIND_AND_NUL(gprmc.utc_date, gprmc.others, ',');

      // process GPS coordinates
      gps_coord.lat = to_uint(gprmc.lat, '.');
      gps_coord.lon = to_uint(gprmc.lon, '.');

      // process GPS speed and course
      gps_vector.speed = (int)(atof((char *)gprmc.speed) * 100);
      gps_vector.course = drop_point(gprmc.course);

      // process GPS datetime
      gps_datetime.utc_date = atoi((char *)gprmc.utc_date);
      gps_datetime.utc_time = drop_point(gprmc.utc_time);

      *(uint64_t *)syslog.value = *(uint64_t *)&gps_coord;
      SYS_LOG(LOG_INFO, GPS, GPS_POS);

      *(uint64_t *)syslog.value = *(uint64_t *)&gps_vector;
      SYS_LOG(LOG_INFO, GPS, GPS_VEC);

      *(uint64_t *)syslog.value = *(uint64_t *)&gps_datetime;
      SYS_LOG(LOG_INFO, GPS, GPS_TIME);
    }
  }
}
/* USER CODE END 4 */

void Error_Handler(void)
{
  __disable_irq();
  while (1) {
  }
}

/**
  * @brief  Reports the name of the source file and the source line number
  *         where the assert_param error has occurred.
  * @param  file: pointer to the source file name
  * @param  line: assert_param error line source number
  * @retval None
  */
void assert_failed(uint8_t *file, uint32_t line)
{
}/* USE_FULL_ASSERT */
